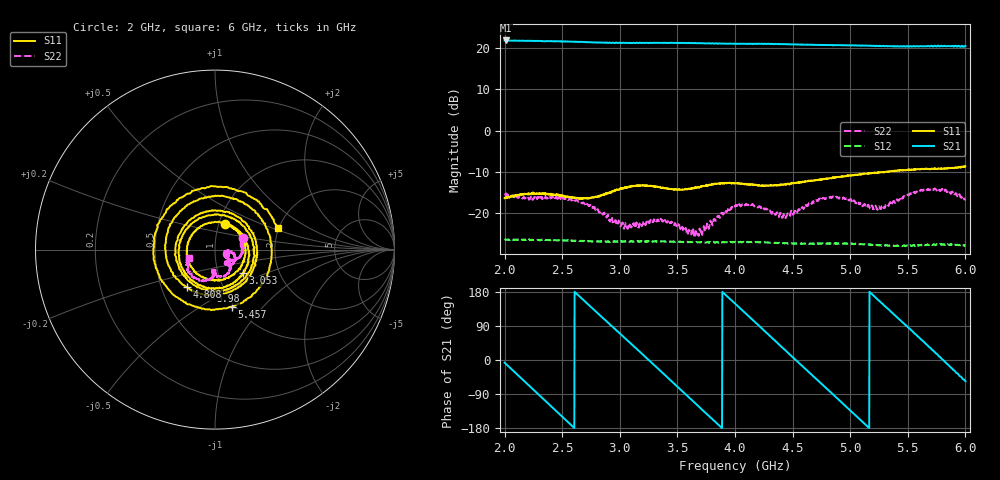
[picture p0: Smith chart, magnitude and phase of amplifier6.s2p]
#  HZ  S  DB  R  50.00
! Rohde & Schwarz ZVA24 4Ports - Version 3.60 - 1145.1110k28 SN: 101513
! Date: 2019-09-25 19:01:51
! Measurements: S33 S43 S34 S44
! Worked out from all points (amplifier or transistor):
!   1601 points, 2 GHz to 6 GHz, reference 50 ohm
!   highest |S21| = 21.8 dB at 2.01 GHz (marker M1)
!   |S21| within 3 dB of that: start of sweep to end of sweep
!   unconditionally stable (mu >= 1): start of sweep to end of sweep
!   at 2.665 GHz: K = 1.15, MAG = 21.7 dB, |S12| = -26.6 dB
!   at 4 GHz: K = 1.16, MAG = 21.5 dB, |S12| = -27.0 dB
!   at 6 GHz: K = 1.15, MAG = 21.7 dB, |S12| = -27.8 dB
!   S11 on the Smith chart (normalised r, x): 2 GHz: 1.08, +0.31; 3.053 GHz: 1.32, -0.36; 3.98 GHz: 0.86, -0.42; 4.808 GHz: 0.68, -0.30; 5.457 GHz: 0.97, -0.69; 6 GHz: 1.97, +0.56
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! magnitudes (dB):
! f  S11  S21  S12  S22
! 2 GHz  -16.3  21.8  -26.4  -15.4
! 2.01 GHz  -16.2  21.8  -26.3  -15.5
! 2.243 GHz  -15.2  21.7  -26.5  -16.8
! 2.49 GHz  -15.7  21.5  -26.6  -16.3
! 2.667 GHz  -16.4  21.4  -26.7  -17.5
! 3.053 GHz  -13.8  21.2  -26.8  -22.4
! 3.335 GHz  -13.6  21.2  -26.8  -21.8
! 3.435 GHz  -14.1  21.2  -26.9  -22.4
! 3.665 GHz  -13.9  21.1  -27.0  -24.2
! 3.98 GHz  -12.7  21.0  -27.0  -18.4
! 4 GHz  -12.8  21.0  -27.0  -18.2
! 4.14 GHz  -13.1  21.0  -27.0  -18.1
! 4.428 GHz  -13.0  20.9  -27.2  -20.2
! 4.668 GHz  -12.1  20.7  -27.3  -17.6
! 4.808 GHz  -11.7  20.7  -27.3  -16.3
! 4.957 GHz  -11.0  20.6  -27.3  -16.6
! 5.188 GHz  -10.3  20.5  -27.7  -18.1
! 5.335 GHz  -9.9  20.4  -27.8  -18.1
! 5.457 GHz  -9.6  20.3  -27.9  -16.1
! 5.72 GHz  -9.3  20.3  -27.5  -14.3
! 5.84 GHz  -9.1  20.4  -27.6  -14.9
! 6 GHz  -8.7  20.4  -27.8  -16.5
